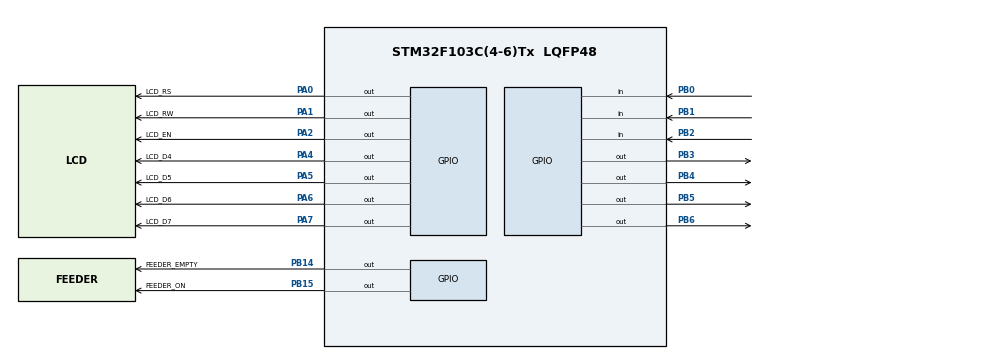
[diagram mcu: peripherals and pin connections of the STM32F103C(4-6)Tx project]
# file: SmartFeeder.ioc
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Mcu.Family=STM32F1
Mcu.Name=STM32F103C(4-6)Tx
Mcu.Package=LQFP48
NVIC.PriorityGroup=NVIC_PRIORITYGROUP_4
NVIC.TIM1_BRK_IRQn=true\:0\:0\:false\:false\:true\:true\:true
NVIC.TIM1_CC_IRQn=true\:0\:0\:false\:false\:true\:true\:true
NVIC.TIM1_TRG_COM_IRQn=true\:0\:0\:false\:false\:true\:true\:true
NVIC.TIM1_UP_IRQn=true\:0\:0\:false\:false\:true\:true\:true
PA0-WKUP.GPIO_Label=LCD_RS
PA0-WKUP.GPIO_PuPd=GPIO_NOPULL
PA0-WKUP.Signal=GPIO_Output
PA1.GPIO_Label=LCD_RW
PA1.GPIO_PuPd=GPIO_NOPULL
PA1.Signal=GPIO_Output
PA2.GPIO_Label=LCD_EN
PA2.GPIO_PuPd=GPIO_NOPULL
PA2.Signal=GPIO_Output
PA4.GPIO_Label=LCD_D4
PA4.GPIO_PuPd=GPIO_NOPULL
PA4.Signal=GPIO_Output
PA5.GPIO_Label=LCD_D5
PA5.GPIO_PuPd=GPIO_NOPULL
PA5.Signal=GPIO_Output
PA6.GPIO_Label=LCD_D6
PA6.GPIO_PuPd=GPIO_NOPULL
PA6.Signal=GPIO_Output
PA7.GPIO_Label=LCD_D7
PA7.GPIO_PuPd=GPIO_NOPULL
PA7.Signal=GPIO_Output
PB0.GPIO_PuPd=GPIO_PULLDOWN
PB0.Signal=GPIO_Input
PB1.GPIO_PuPd=GPIO_PULLDOWN
PB1.Signal=GPIO_Input
PB14.GPIO_Label=FEEDER_EMPTY
PB14.Signal=GPIO_Output
PB15.GPIO_Label=FEEDER_ON
PB15.Signal=GPIO_Output
PB2.GPIO_PuPd=GPIO_PULLDOWN
PB2.Signal=GPIO_Input
PB3.GPIO_PuPd=GPIO_NOPULL
PB3.Signal=GPIO_Output
PB4.GPIO_PuPd=GPIO_NOPULL
PB4.Signal=GPIO_Output
PB5.GPIO_PuPd=GPIO_NOPULL
PB5.Signal=GPIO_Output
PB6.GPIO_PuPd=GPIO_NOPULL
PB6.Signal=GPIO_Output
ProjectManager.HeapSize=0x200
ProjectManager.StackSize=0x400
ProjectManager.TargetToolchain=STM32CubeIDE
RCC.APB1Freq_Value=8000000
RCC.APB2Freq_Value=8000000
VP_SYS_VS_ND.Mode=No_Debug
VP_TIM1_VS_ClockSourceINT.Mode=Internal
VP_TIM1_VS_ClockSourceITR.Mode=TriggerSource_ITR0
VP_TIM1_VS_ControllerModeReset.Mode=Reset Mode
board=custom

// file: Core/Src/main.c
/* USER CODE BEGIN Header */
/**
  ******************************************************************************
  * @file           : main.c
  * @brief          : Main program body
  ******************************************************************************
  * @attention
  *
  * Copyright (c) 2022 STMicroelectronics.
  * All rights reserved.
  *
  * This software is licensed under terms that can be found in the LICENSE file
  * in the root directory of this software component.
  * If no LICENSE file comes with this software, it is provided AS-IS.
  *
  ******************************************************************************
  */
/* USER CODE END Header */
#include "main.h"

/* USER CODE BEGIN Includes */
#include "keypad.h"
#include "feeder.h"
#include "LiquidCrystal.h"
#include "stm32f1xx_hal_def.h"
#include "stm32f1xx_hal_tim.h"
#include "stm32f1xx_hal_tim_ex.h"
#include <stdbool.h>
#include <stdlib.h>
#include <stdio.h>
/* USER CODE END Includes */

TIM_HandleTypeDef htim1;

/* USER CODE BEGIN PV */
Feeder feeder;
uint32_t time;
bool isFeederOn;
char estoquePrint[20];
/* USER CODE END PV */

void SystemClock_Config(void);
static void MX_GPIO_Init(void);
static void MX_TIM1_Init(void);

int main(void)
{

  /* MCU Configuration--------------------------------------------------------*/

  /* Reset of all peripherals, Initializes the Flash interface and the Systick. */
  HAL_Init();

  /* Configure the system clock */
  SystemClock_Config();

  /* Initialize all configured peripherals */
  MX_GPIO_Init();

  /* USER CODE BEGIN 2 */
  // Inicia o display
  LiquidCrystal lcd;
  begin(&lcd, 20, 4, LCD_5x8DOTS);
  home(&lcd);
  print(&lcd, "Bem-vindo(a) ao");
  setCursor(&lcd, 0, 1);
  print(&lcd, "SmartFeeder!");

  int quantity = 130; // default necessário já que não há a balanca no simulador.

  feederInit(&feeder, quantity, FEEDER_ON_GPIO_Port, FEEDER_ON_Pin, FEEDER_EMPTY_GPIO_Port, FEEDER_EMPTY_Pin);
  isFeederOn = false; // Sistema não está ativo por padrão

  // Lê o tempo do timer
  setCursor(&lcd, 0, 2);
  print(&lcd, "Configure o timer:");
  time = getTimeFromKeypad(&lcd);
  MX_TIM1_Init();
  HAL_TIM_Base_Start_IT(&htim1);

  /* USER CODE END 2 */

  /* Infinite loop */
  /* USER CODE BEGIN WHILE */

  clear(&lcd);
  while (1)
  {
    /* USER CODE END WHILE */

    /* USER CODE BEGIN 3 */
	  home(&lcd);
	  print(&lcd, "*** SmartFeeder! ***");
	  bool empty = isFeederEmpty(&feeder);

	  if(isFeederOn){
		  setCursor(&lcd, 0, 1);
		  print(&lcd, "Estado: Aberto!");
		  HAL_Delay(1000);
		  HAL_GPIO_WritePin(FEEDER_ON_GPIO_Port, FEEDER_ON_Pin, GPIO_PIN_SET);
	  	  isFeederOn = false;
  	  }
	  else{
		  setCursor(&lcd, 0, 1);
		  print(&lcd, "Estado: Fechado");
	  }

	  int estoque = getQuantity(&feeder);
	  sprintf(estoquePrint, "Estoque: %4d g", estoque);
	  setCursor(&lcd, 0, 2);
	  print(&lcd, estoquePrint);

	  setCursor(&lcd, 0, 3);
	  if(empty)
		  print(&lcd, "*Porc. insuficiente*");
	  else
		  print(&lcd, "********************");
	  HAL_Delay(1000/60);
  }
  /* USER CODE END 3 */
}

void SystemClock_Config(void)
{
  RCC_OscInitTypeDef RCC_OscInitStruct = {0};
  RCC_ClkInitTypeDef RCC_ClkInitStruct = {0};

  /** Initializes the RCC Oscillators according to the specified parameters
  * in the RCC_OscInitTypeDef structure.
  */
  RCC_OscInitStruct.OscillatorType = RCC_OSCILLATORTYPE_HSI;
  RCC_OscInitStruct.HSIState = RCC_HSI_ON;
  RCC_OscInitStruct.HSICalibrationValue = RCC_HSICALIBRATION_DEFAULT;
  RCC_OscInitStruct.PLL.PLLState = RCC_PLL_NONE;
  if (HAL_RCC_OscConfig(&RCC_OscInitStruct) != HAL_OK)
  {
    Error_Handler();
  }
  /** Initializes the CPU, AHB and APB buses clocks
  */
  RCC_ClkInitStruct.ClockType = RCC_CLOCKTYPE_HCLK|RCC_CLOCKTYPE_SYSCLK
                              |RCC_CLOCKTYPE_PCLK1|RCC_CLOCKTYPE_PCLK2;
  RCC_ClkInitStruct.SYSCLKSource = RCC_SYSCLKSOURCE_HSI;
  RCC_ClkInitStruct.AHBCLKDivider = RCC_SYSCLK_DIV1;
  RCC_ClkInitStruct.APB1CLKDivider = RCC_HCLK_DIV1;
  RCC_ClkInitStruct.APB2CLKDivider = RCC_HCLK_DIV1;

  if (HAL_RCC_ClockConfig(&RCC_ClkInitStruct, FLASH_LATENCY_0) != HAL_OK)
  {
    Error_Handler();
  }
}

static void MX_GPIO_Init(void)
{
  GPIO_InitTypeDef GPIO_InitStruct = {0};

  /* GPIO Ports Clock Enable */
  __HAL_RCC_GPIOA_CLK_ENABLE();
  __HAL_RCC_GPIOB_CLK_ENABLE();

  /*Configure GPIO pin Output Level */
  HAL_GPIO_WritePin(GPIOA, LCD_RS_Pin|LCD_RW_Pin|LCD_EN_Pin|LCD_D4_Pin
                          |LCD_D5_Pin|LCD_D6_Pin|LCD_D7_Pin, GPIO_PIN_RESET);

  /*Configure GPIO pin Output Level */
  HAL_GPIO_WritePin(GPIOB, FEEDER_EMPTY_Pin|FEEDER_ON_Pin|GPIO_PIN_3|GPIO_PIN_4
                          |GPIO_PIN_5|GPIO_PIN_6, GPIO_PIN_RESET);

  /*Configure GPIO pins : LCD_RS_Pin LCD_RW_Pin LCD_EN_Pin LCD_D4_Pin
                           LCD_D5_Pin LCD_D6_Pin LCD_D7_Pin */
  GPIO_InitStruct.Pin = LCD_RS_Pin|LCD_RW_Pin|LCD_EN_Pin|LCD_D4_Pin
                          |LCD_D5_Pin|LCD_D6_Pin|LCD_D7_Pin;
  GPIO_InitStruct.Mode = GPIO_MODE_OUTPUT_PP;
  GPIO_InitStruct.Pull = GPIO_NOPULL;
  GPIO_InitStruct.Speed = GPIO_SPEED_FREQ_LOW;
  HAL_GPIO_Init(GPIOA, &GPIO_InitStruct);

  /*Configure GPIO pins : PB0 PB1 PB2 */
  GPIO_InitStruct.Pin = GPIO_PIN_0|GPIO_PIN_1|GPIO_PIN_2;
  GPIO_InitStruct.Mode = GPIO_MODE_INPUT;
  GPIO_InitStruct.Pull = GPIO_PULLDOWN;
  HAL_GPIO_Init(GPIOB, &GPIO_InitStruct);

  /*Configure GPIO pins : FEEDER_EMPTY_Pin FEEDER_ON_Pin PB3 PB4
                           PB5 PB6 */
  GPIO_InitStruct.Pin = FEEDER_EMPTY_Pin|FEEDER_ON_Pin|GPIO_PIN_3|GPIO_PIN_4
                          |GPIO_PIN_5|GPIO_PIN_6;
  GPIO_InitStruct.Mode = GPIO_MODE_OUTPUT_PP;
  GPIO_InitStruct.Pull = GPIO_NOPULL;
  GPIO_InitStruct.Speed = GPIO_SPEED_FREQ_LOW;
  HAL_GPIO_Init(GPIOB, &GPIO_InitStruct);

}

/* USER CODE BEGIN 4 */
static void MX_TIM1_Init(void){

  /* USER CODE BEGIN TIM1_Init 0 */

  /* USER CODE END TIM1_Init 0 */

  TIM_ClockConfigTypeDef sClockSourceConfig = {0};
  TIM_SlaveConfigTypeDef sSlaveConfig = {0};
  TIM_MasterConfigTypeDef sMasterConfig = {0};

  /* USER CODE BEGIN TIM1_Init 1 */

  /* USER CODE END TIM1_Init 1 */
  htim1.Instance = TIM1;
  htim1.Init.Prescaler = 122*time;
  htim1.Init.CounterMode = TIM_COUNTERMODE_UP;
  htim1.Init.Period = 65535;
  htim1.Init.ClockDivision = TIM_CLOCKDIVISION_DIV1;
  htim1.Init.RepetitionCounter = 0;
  htim1.Init.AutoReloadPreload = TIM_AUTORELOAD_PRELOAD_DISABLE;
  if (HAL_TIM_Base_Init(&htim1) != HAL_OK)
  {
    Error_Handler();
  }
  sClockSourceConfig.ClockSource = TIM_CLOCKSOURCE_INTERNAL;
  if (HAL_TIM_ConfigClockSource(&htim1, &sClockSourceConfig) != HAL_OK)
  {
    Error_Handler();
  }
  sSlaveConfig.SlaveMode = TIM_SLAVEMODE_RESET;
  sSlaveConfig.InputTrigger = TIM_TS_ITR0;
  if (HAL_TIM_SlaveConfigSynchro(&htim1, &sSlaveConfig) != HAL_OK)
  {
    Error_Handler();
  }
  sMasterConfig.MasterOutputTrigger = TIM_TRGO_RESET;
  sMasterConfig.MasterSlaveMode = TIM_MASTERSLAVEMODE_DISABLE;
  if (HAL_TIMEx_MasterConfigSynchronization(&htim1, &sMasterConfig) != HAL_OK)
  {
    Error_Handler();
  }
  /* USER CODE BEGIN TIM1_Init 2 */

  /* USER CODE END TIM1_Init 2 */

}

// Libera comida ao comedouro e abre a portinha
void HAL_TIM_PeriodElapsedCallback(TIM_HandleTypeDef* htim){
	feederOn(&feeder, &isFeederOn);
}
/* USER CODE END 4 */

void Error_Handler(void)
{
  __disable_irq();
  while (1)
  {
  }
}
